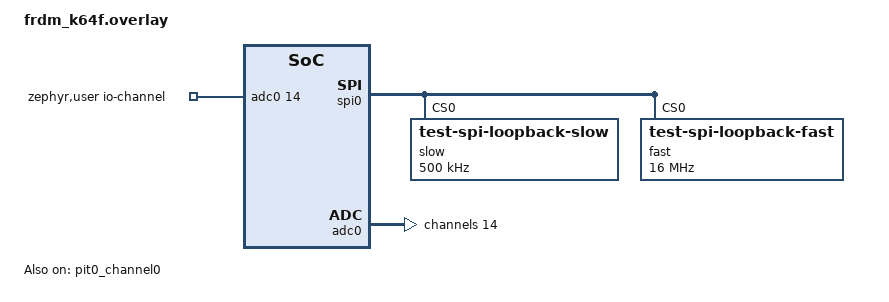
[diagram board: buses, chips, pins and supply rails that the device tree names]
/*
 * Copyright (c) 2022 Kumar Gala <galak@kernel.org>
 *
 * SPDX-License-Identifier: Apache-2.0
 */

tst_dma0: &edma0 {};

&spi0 {
	slow@0 {
		compatible = "test-spi-loopback-slow";
		reg = <0>;
		spi-max-frequency = <500000>;
	};
	fast@0 {
		compatible = "test-spi-loopback-fast";
		reg = <0>;
		spi-max-frequency = <16000000>;
	};
};

/ {
	zephyr,user {
		io-channels = <&adc0 14>;
	};
};

&adc0 {
	#address-cells = <1>;
	#size-cells = <0>;
	clk-source = <0>;
	hw-trigger-src = <4>;
	continuous-convert;
	high-speed;
	periodic-trigger;
	status = "okay";
	channel@e {
		reg = <14>;
		zephyr,gain = "ADC_GAIN_1";
		zephyr,reference = "ADC_REF_EXTERNAL0";
		zephyr,acquisition-time = <ADC_ACQ_TIME_DEFAULT>;
		zephyr,resolution = <12>;
	};
};

test_counter: &pit0_channel0 {
	status = "okay";
};

&edma0 {
	dma-buf-addr-alignment = <4>;
};
